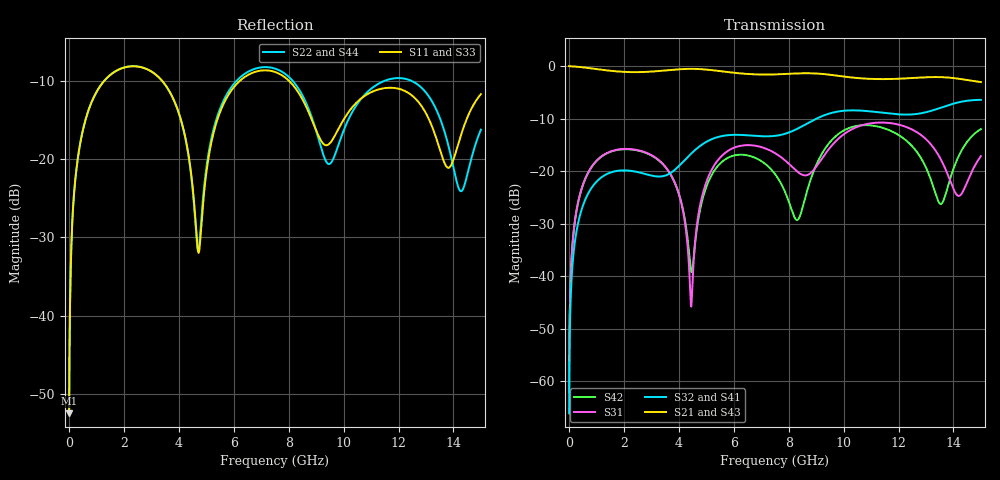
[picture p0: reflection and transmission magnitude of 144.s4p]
! Created with skrf 1.8.0 (http://scikit-rf.org).
# GHz S RI R 50.0
!freq ReS11 ImS11 ReS12 ImS12 ReS13 ImS13
! ReS14 ImS14
! ReS21 ImS21 ReS22 ImS22 ReS23 ImS23
! ReS24 ImS24
! ReS31 ImS31 ReS32 ImS32 ReS33 ImS33
! ReS34 ImS34
! ReS41 ImS41 ReS42 ImS42 ReS43 ImS43
! ReS44 ImS44
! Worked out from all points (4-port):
!   2499 points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, 5 MHz to 15 GHz, reference 50 ohm
!   strongest paths, dB at 5 MHz, 3.476 GHz, 7.19 GHz, 11.1 GHz, 15 GHz:
!     S21: 0.0, -0.8, -1.6, -2.5, -3.1
!     S43: 0.0, -0.8, -1.6, -2.5, -3.0
!     S32: -66.2, -20.9, -13.4, -8.7, -6.4
!     S41: -66.2, -21.0, -13.4, -8.8, -6.5
!     S31: -62.1, -19.0, -15.8, -10.8, -17.2
!     S42: -62.1, -19.0, -18.8, -11.4, -12.0
!   lowest |S11| = -52.5 dB at 5 MHz (marker M1), VSWR 1.00, Z = 50.2 + j0.144 ohm
!   |S11| at or under -10 dB: start of sweep to 1.294 GHz; 3.382 GHz to 6.234 GHz (2.852 GHz wide, 59.3 % of centre); 8.002 GHz to end of sweep
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0.005  0.0019 0.00144  0.9981 -0.00369  9.7e-05 0.000775  -9.4e-05 -0.000483
       0.9981 -0.00369  0.0019 0.00144  -9.41e-05 -0.000483  9.7e-05 0.000775
       9.7e-05 0.000775  -9.41e-05 -0.000483  0.0019 0.00144  0.9981 -0.00369
       -9.4e-05 -0.000483  9.7e-05 0.000775  0.9981 -0.00369  0.0019 0.00144
0.3126303  0.0308 0.0933  0.9577 -0.2284  0.0149 0.0451  -0.0123 -0.0275
           0.9577 -0.2284  0.0309 0.0933  -0.0123 -0.0275  0.0147 0.0452
           0.0149 0.0451  -0.0123 -0.0275  0.0308 0.0933  0.9577 -0.2284
           -0.0123 -0.0275  0.0147 0.0452  0.9577 -0.2284  0.0309 0.0933
1.419341  0.2872 0.1691  0.509 -0.7507  0.139 0.0564  -0.0946 0.000727
          0.509 -0.7507  0.2879 0.1686  -0.0947 0.000884  0.137 0.0593
          0.139 0.0564  -0.0947 0.000884  0.2872 0.1692  0.5089 -0.7507
          -0.0946 0.000727  0.137 0.0593  0.5089 -0.7507  0.288 0.1685
4.445602  0.0382 -0.072  -0.9078 -0.2471  0.00505 -0.00104  -0.035 0.1419
          -0.9078 -0.2471  0.0377 -0.0698  -0.0327 0.1425  -0.0106 -0.0037
          0.00505 -0.00104  -0.0327 0.1425  0.0396 -0.0724  -0.9077 -0.2471
          -0.035 0.1419  -0.0106 -0.0037  -0.9077 -0.2471  0.0366 -0.0708
5.539808  0.1336 0.1581  -0.7864 0.4232  0.1215 0.0646  0.1266 0.173
          -0.7864 0.4232  0.1437 0.163  0.1294 0.1712  0.0848 0.0855
          0.1215 0.0646  0.1294 0.1712  0.1346 0.1567  -0.7863 0.4235
          0.1266 0.173  0.0848 0.0855  -0.7863 0.4235  0.1424 0.1638
9.466444  0.1242 0.00128  0.8207 0.1174  -0.0259 0.1601  0.0485 -0.348
          0.8207 0.1174  0.0915 -0.0149  0.0403 -0.3497  -0.00685 0.1835
          -0.0259 0.1601  0.0403 -0.3497  0.1218 -0.00391  0.8208 0.1167
          0.0485 -0.348  -0.00685 0.1835  0.8208 0.1167  0.095 -0.0157
15  0.227 0.1248  -0.6829 0.1696  0.1012 0.0951  0.1603 0.4466
    -0.6829 0.1696  0.1286 0.084  0.1806 0.4413  0.2114 0.136
    0.1012 0.0951  0.1806 0.4413  0.2234 0.1156  -0.6828 0.1738
    0.1603 0.4466  0.2114 0.136  -0.6828 0.1738  0.1333 0.0815
